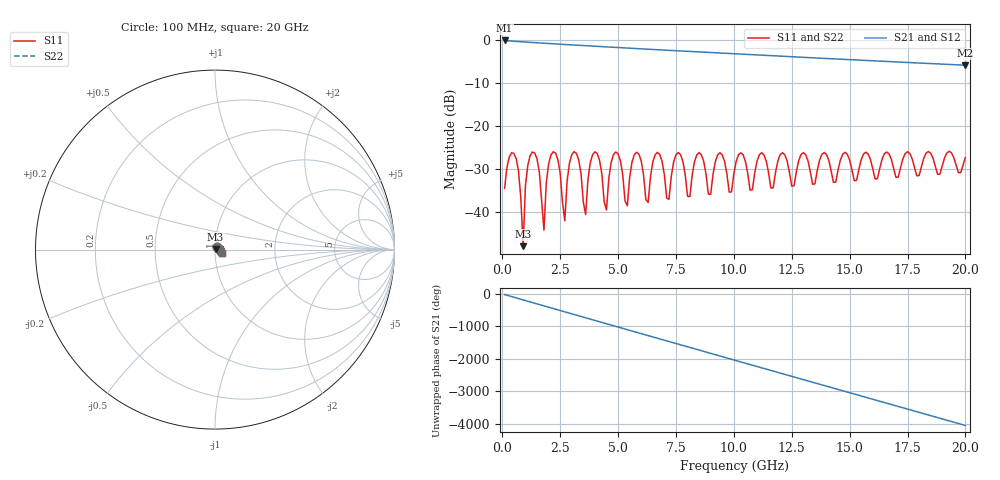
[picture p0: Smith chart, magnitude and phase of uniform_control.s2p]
! Touchstone file exported from Ansys Full-Wave Spice
! Project: uniform_control
!  Design: unknown
! Creation time: Tue Aug 11 13:45:09 2026
! Notes: Touchstone(R) file created by SIwave 2026 R1
!  : Touchstone(R) file created on Tue Aug 11 13:45:09 2026
!  : Design: Cell_7BL72D
!  : Path:
!  : *** SIwave SYZ Simulation Settings ***
!  : SI/PI Main
!  :  SI Simulation -  Balanced
!  : SI/PI Advanced
!  :  Coupling
!  :  Coplane: On
!  :  Intra-plane: Off
!  :  Split-plane: On
!  :  Cavity field: On
!  :  Trace: On
!  :  Cross-talk threshold: -34dB
!  :  Max. coupled lines: 12
!  :  Geometry Processing
!  :  Void area threshold: 2mm^2
!  :  Pad area threshold: 3.712mm^2
!  :  Planes area threshold: 3.364E-05mm^2
!  :  Vertex snap distance threshold: 0.0025mm
!  :  Mesh Refinement
!  :  Auto
!  :  AC/DC Merge
!  :  Default
!  :  Trace return current distribution: Off
!  :  Include voltage/current source parasitics: No
!  :  Add infinite ground plane: No
!  :  Exclude non-functional pads: Yes
!  : Temperature
!  :  Uniform distribution: 20cel
!  : Net Processing
!  :  Auto select nets
!  : S-parameter Modeling
!  :  State Space Model
!  : Sweep
!  :  Name: TDR_VALIDATION_uniform_control
!  :  AC/DC Merge: Off
!  :  Discrete Sweep
!  :  Frequency Point Distribution:
!  :  Linear Step: 1E+08Hz -> 2E+10Hz 1E+08Hz step
!  :  Enforce Causality: Yes
!  :  Enforce Passivity: Yes
!  :  Q3D Regions: Off
!  :  HFSS Regions: Off
! Modal data exported
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# HZ S RI R 50
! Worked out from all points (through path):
!   200 points, 100 MHz to 20 GHz, reference 50 ohm
!   highest |S21| = -0.09 dB at 100 MHz (marker M1); lowest = -5.9 dB at 20 GHz (marker M2)
!   group delay of S21, straight-line fit = 562 ps
!   lowest |S11| = -48.0 dB at 900 MHz (marker M3), VSWR 1.01, Z = 50.3 + j0.282 ohm
!   |S11| at or under -10 dB: start of sweep to end of sweep
!   |S22| runs from -48.0 to -25.9 dB; largest |S21 - S12| = 0
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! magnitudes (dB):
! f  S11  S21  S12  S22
! 100 MHz  -34.5  -0.1  -0.1  -34.5
! 600 MHz  -27.6  -0.3  -0.3  -27.6
! 900 MHz  -48.0  -0.4  -0.4  -48.0
! 1.3 GHz  -26.1  -0.6  -0.6  -26.1
! 1.8 GHz  -44.3  -0.7  -0.7  -44.3
! 2.2 GHz  -26.0  -0.9  -0.9  -26.0
! 2.7 GHz  -42.1  -1.0  -1.0  -42.1
! 3.1 GHz  -26.0  -1.2  -1.2  -26.0
! 3.5 GHz  -37.8  -1.3  -1.3  -37.8
! 4 GHz  -26.0  -1.4  -1.4  -26.0
! 4.5 GHz  -39.5  -1.6  -1.6  -39.5
! 4.9 GHz  -26.1  -1.7  -1.7  -26.1
! 5.4 GHz  -38.6  -1.9  -1.9  -38.6
! 5.7 GHz  -26.7  -1.9  -1.9  -26.7
! 6.8 GHz  -26.6  -2.3  -2.3  -26.6
! 7.2 GHz  -37.1  -2.4  -2.4  -37.1
! 7.6 GHz  -26.2  -2.5  -2.5  -26.2
! 8.1 GHz  -36.5  -2.6  -2.6  -36.5
! 10.1 GHz  -28.3  -3.2  -3.2  -28.3
! 13.4 GHz  -33.6  -4.1  -4.1  -33.6
! 16.7 GHz  -26.5  -5.0  -5.0  -26.5
! 20 GHz  -27.3  -5.9  -5.9  -27.3
